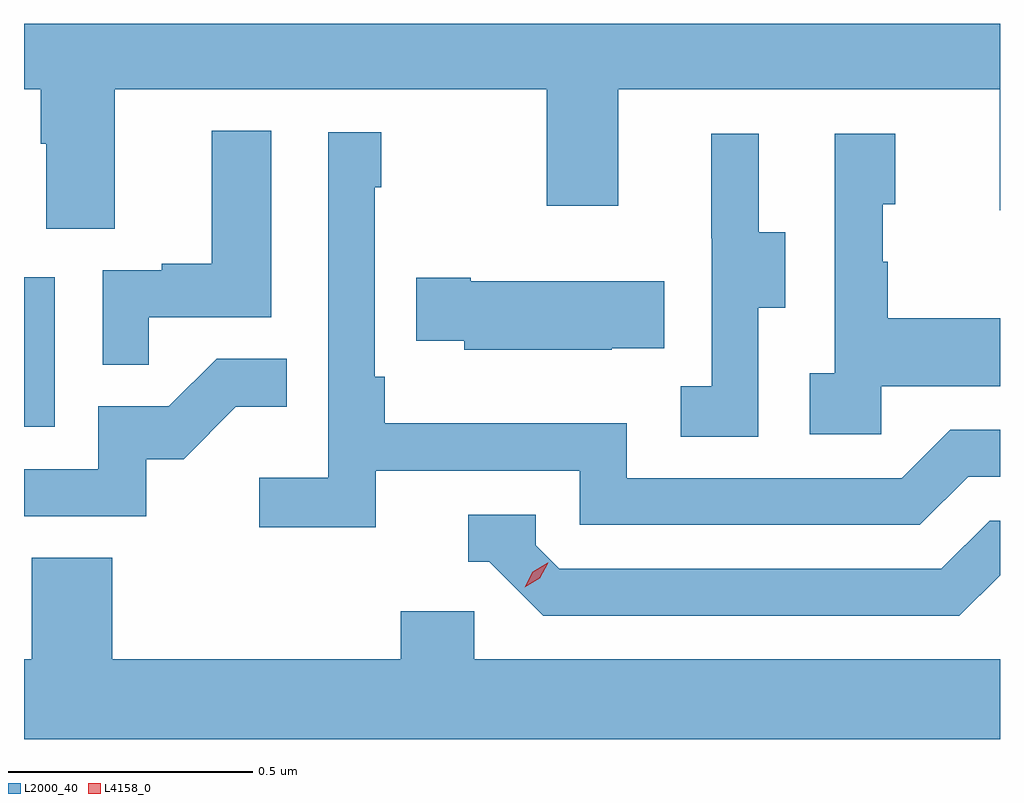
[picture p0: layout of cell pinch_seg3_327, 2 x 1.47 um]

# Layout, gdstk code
import gdstk
lib = gdstk.Library(unit=1e-6, precision=1e-09)
def R(c, l, rs):  # rectangles x0, y0, x1, y1
    for r in rs: c.add(gdstk.rectangle(r[:2], r[2:], *l))
def P(c, l, *ps):  # polygons
    for p in ps: c.add(gdstk.Polygon(p, *l))
L2000_40 = (2000, 40)
L4158_0 = (4158, 0)

pinch_seg3_327 = lib.new_cell('pinch_seg3_327')
R(pinch_seg3_327, L2000_40, [(1012.795,712.212,1012.858,712.519)])
P(pinch_seg3_327, L2000_40, [(1012.981,712.904),(1013.866,712.904),(1013.866,712.665),(1014.013,712.665),(1014.013,712.904),(1014.794,712.904),(1014.794,712.656),(1014.795,712.656),(1014.795,713.038),(1012.795,713.038),(1012.795,712.904),(1012.829,712.904),(1012.829,712.792),(1012.841,712.792),(1012.841,712.618),(1012.981,712.618)],
  [(1013.051,712.437),(1013.302,712.437),(1013.302,712.819),(1013.18,712.819),(1013.18,712.546),(1013.077,712.546),(1013.077,712.533),(1012.956,712.533),(1012.956,712.339),(1013.051,712.339)],
  [(1013.516,712.122),(1013.934,712.122),(1013.934,712.011),(1014.631,712.011),(1014.73,712.11),(1014.795,712.11),(1014.795,712.206),(1014.693,712.206),(1014.594,712.107),(1014.03,712.107),(1014.03,712.219),(1013.534,712.219),(1013.534,712.315),(1013.514,712.315),(1013.514,712.703),(1013.527,712.703),(1013.527,712.816),(1013.418,712.816),(1013.418,712.108),(1013.277,712.108),(1013.277,712.006),(1013.516,712.006)],
  [(1014.3,712.456),(1014.355,712.456),(1014.355,712.611),(1014.301,712.611),(1014.301,712.813),(1014.203,712.813),(1014.203,712.599),(1014.204,712.599),(1014.204,712.295),(1014.141,712.295),(1014.141,712.192),(1014.3,712.192)],
  [(1014.552,712.295),(1014.795,712.295),(1014.795,712.435),(1014.565,712.435),(1014.565,712.55),(1014.555,712.55),(1014.555,712.668),(1014.58,712.668),(1014.58,712.813),(1014.456,712.813),(1014.456,712.322),(1014.405,712.322),(1014.405,712.197),(1014.552,712.197)],
  [(1013.999,712.373),(1014.107,712.373),(1014.107,712.51),(1013.71,712.51),(1013.71,712.518),(1013.599,712.518),(1013.599,712.388),(1013.697,712.388),(1013.697,712.37),(1013.999,712.37)],
  [(1013.046,712.146),(1013.122,712.146),(1013.229,712.253),(1013.333,712.253),(1013.333,712.352),(1013.19,712.352),(1013.092,712.254),(1012.947,712.254),(1012.947,712.125),(1012.795,712.125),(1012.795,712.029),(1013.046,712.029)],
  [(1014.795,711.908),(1014.795,712.02),(1014.774,712.02),(1014.675,711.921),(1013.892,711.921),(1013.844,711.969),(1013.844,712.032),(1013.705,712.032),(1013.705,711.936),(1013.748,711.936),(1013.859,711.825),(1014.712,711.825)],
  [(1014.795,711.736),(1013.718,711.736),(1013.718,711.834),(1013.567,711.834),(1013.567,711.736),(1012.976,711.736),(1012.976,711.944),(1012.811,711.944),(1012.811,711.736),(1012.795,711.736),(1012.795,711.572),(1014.795,711.572)])
P(pinch_seg3_327, L4158_0, [(1013.821,711.883),(1013.821,711.883),(1013.838,711.915),(1013.868,711.934),(1013.869,711.934),(1013.869,711.934),(1013.852,711.902),(1013.821,711.883)])

lib.write_gds('pinch_seg3_327.gds')
